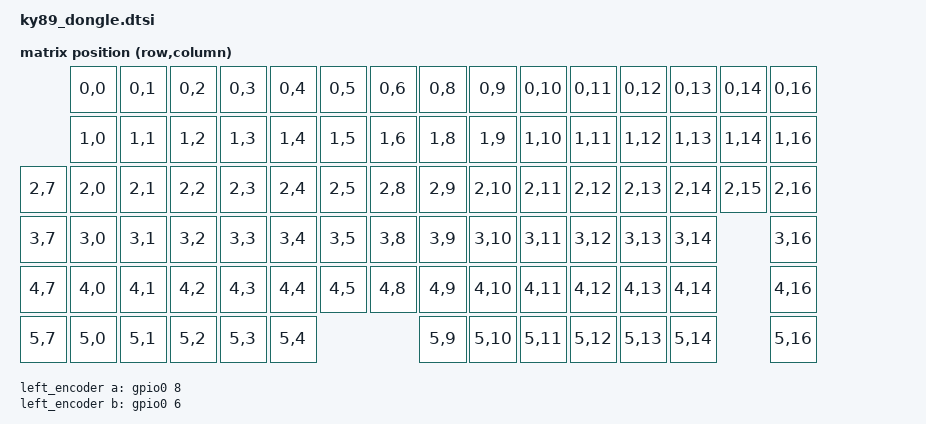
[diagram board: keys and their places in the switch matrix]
/*
 * Copyright (c) 2023 The ZMK Contributors
 *
 * SPDX-License-Identifier: MIT
 */

#include <dt-bindings/zmk/matrix_transform.h>

/ {

    chosen {
        zmk,matrix-transform = &default_transform;
    };

    default_transform: keymap_transform_0 {
        compatible = "zmk,matrix-transform";
        columns = <17>;
        rows = <6>;
//	|    |ESC   |F1  |F2  |F3  |F4   |F5  |F6  |    |F7  |F8   |F9  |F10 |F11  |F12   |FN   |    |MUTE |
//	|    |~     |1   |2   |3   |4    |5   |6   |    |7   |8    |9   |0   |-    |=     |BSPC |    |HOME |
//	|MUTE|TAB   |Q   |W   |E   |R    |T   |    |    |Y   |U    |I   |O   |P    |[     |]    |\   |END  |
//	|1   |CAPS  |A   |S   |D   |F    |G   |    |    |H   |J    |K   |L   |;    |'     |ENTER|    |PG_UP|
//	|2   |LSHIFT|Z   |X   |C   |V    |B   |    |    |N   |M    |,   |.   |/    |RSHIFT|UP   |    |PG_DN|
//	|3   |LCTRL |LGUI|LALT|DEL |SPACE|    |    |    |    |SPACE|INS |RALT|RCTRL|LEFT  |DOWN |    |RIGHT|


        map = <
        RC(0,0) RC(0,1) RC(0,2) RC(0,3) RC(0,4) RC(0,5) RC(0,6)      RC(0,8) RC(0,9) RC(0,10) RC(0,11) RC(0,12) RC(0,13) RC(0,14)          RC(0,16) 
        RC(1,0) RC(1,1) RC(1,2) RC(1,3) RC(1,4) RC(1,5) RC(1,6)      RC(1,8) RC(1,9) RC(1,10) RC(1,11) RC(1,12) RC(1,13) RC(1,14)          RC(1,16) 
RC(2,7) RC(2,0) RC(2,1) RC(2,2) RC(2,3) RC(2,4) RC(2,5)              RC(2,8) RC(2,9) RC(2,10) RC(2,11) RC(2,12) RC(2,13) RC(2,14) RC(2,15) RC(2,16) 
RC(3,7) RC(3,0) RC(3,1) RC(3,2) RC(3,3) RC(3,4) RC(3,5)              RC(3,8) RC(3,9) RC(3,10) RC(3,11) RC(3,12) RC(3,13) RC(3,14)          RC(3,16) 
RC(4,7) RC(4,0) RC(4,1) RC(4,2) RC(4,3) RC(4,4) RC(4,5)              RC(4,8) RC(4,9) RC(4,10) RC(4,11) RC(4,12) RC(4,13) RC(4,14)          RC(4,16) 
RC(5,7) RC(5,0) RC(5,1) RC(5,2) RC(5,3) RC(5,4)                              RC(5,9) RC(5,10) RC(5,11) RC(5,12) RC(5,13) RC(5,14)          RC(5,16) 

        >;
    };

    left_encoder: left_encoder {
        compatible = "alps,ec11";
        steps = <80>;
        a-gpios = <&gpio0  8 (GPIO_ACTIVE_HIGH | GPIO_PULL_UP)>;
        b-gpios = <&gpio0  6 (GPIO_ACTIVE_HIGH | GPIO_PULL_UP)>;
        status = "okay";
    };
    
    sensors: sensors {
        compatible = "zmk,keymap-sensors";
        //sensors = <&left_encoder1 &right_encoder1>;
        sensors = <&left_encoder>;
        triggers-per-rotation = <20>;
    };
};

